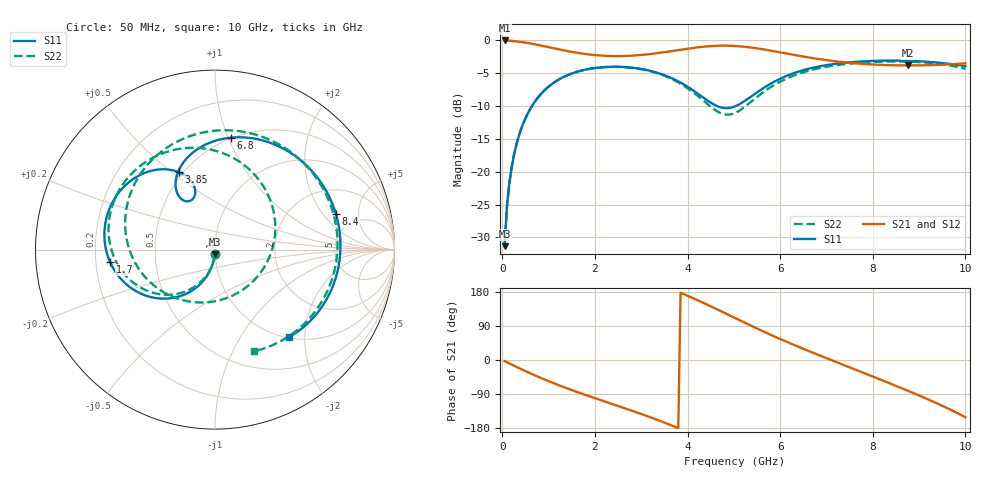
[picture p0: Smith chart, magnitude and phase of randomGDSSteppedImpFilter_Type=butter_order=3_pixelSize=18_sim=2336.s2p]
! freq	dB(S11)	phase(S11)	dB(S12)	phase(S12)
!  dB(S21)	phase(S21)	dB(S22)	phase(S22)
!S-par simulation data
#  GHz  S  DB  R 50
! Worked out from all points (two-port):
!   200 points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, 50 MHz to 10 GHz, reference 50 ohm
!   highest |S21| = 0.00 dB at 50 MHz (marker M1); lowest = -3.8 dB at 8.75 GHz (marker M2)
!   |S21| within 3 dB of the highest: start of sweep to 7.004 GHz
!   lowest |S11| = -31.3 dB at 50 MHz (marker M3), VSWR 1.06, Z = 49.8 - j2.7 ohm
!   |S11| at or under -10 dB: start of sweep to 640.7 MHz; 4.641 GHz to 5.037 GHz (396.5 MHz wide, 8.19 % of centre)
!   |S22| runs from -31.3 to -3.2 dB; largest |S21 - S12| = 0
!   S11 on the Smith chart (normalised r, x): 50 MHz: 1.00, -0.05; 1.7 GHz: 0.26, -0.06; 3.85 GHz: 0.47, +0.53; 6.8 GHz: 0.49, +1.02; 8.4 GHz: 3.49, +2.72; 10 GHz: 1.02, -1.68
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0.05  -31.32 -93.0  -0.00 -3.0  -0.00 -3.0  -31.33 -93.3
0.1  -25.33 -96.0  -0.02 -6.0  -0.02 -6.0  -25.33 -96.5
0.2  -19.39 -101.8  -0.07 -12.0  -0.07 -12.0  -19.39 -102.9
0.5  -11.87 -118.4  -0.33 -29.3  -0.33 -29.3  -11.87 -121.2
1.05  -6.75 -145.9  -1.11 -58.3  -1.11 -58.3  -6.76 -151.9
1.7  -4.60 -173.2  -1.98 -88.1  -1.98 -88.1  -4.61 176.1
1.75  -4.52 -175.2  -2.03 -90.2  -2.03 -90.2  -4.53 173.8
2.5  -4.01 157.7  -2.39 -121.3  -2.39 -121.3  -4.03 138.9
3.4  -5.04 127.9  -1.89 -160.4  -1.89 -160.4  -5.12 91.4
3.85  -6.42 115.2  -1.41 177.5  -1.41 177.5  -6.59 60.8
4.45  -9.24 108.6  -0.89 144.6  -0.89 144.6  -9.80 3.0
5.05  -9.96 121.6  -0.86 109.3  -0.86 109.3  -10.97 -84.4
5.45  -8.16 123.3  -1.16 85.9  -1.16 85.9  -8.89 -134.7
5.9  -6.18 113.8  -1.69 60.8  -1.69 60.8  -6.67 -175.3
6.7  -4.17 85.8  -2.69 19.5  -2.69 19.5  -4.46 131.3
6.8  -4.01 81.9  -2.80 14.6  -2.80 14.6  -4.29 125.4
7.55  -3.30 51.8  -3.44 -21.8  -3.44 -21.8  -3.49 83.8
8.35  -3.07 18.4  -3.77 -60.7  -3.77 -60.7  -3.21 40.5
8.4  -3.07 16.3  -3.78 -63.2  -3.78 -63.2  -3.21 37.8
8.75  -3.11 1.5  -3.81 -80.7  -3.81 -80.7  -3.23 18.1
9.4  -3.37 -25.9  -3.72 -115.2  -3.72 -115.2  -3.53 -21.9
10  -3.90 -49.5  -3.49 -151.1  -3.49 -151.1  -4.33 -69.0
